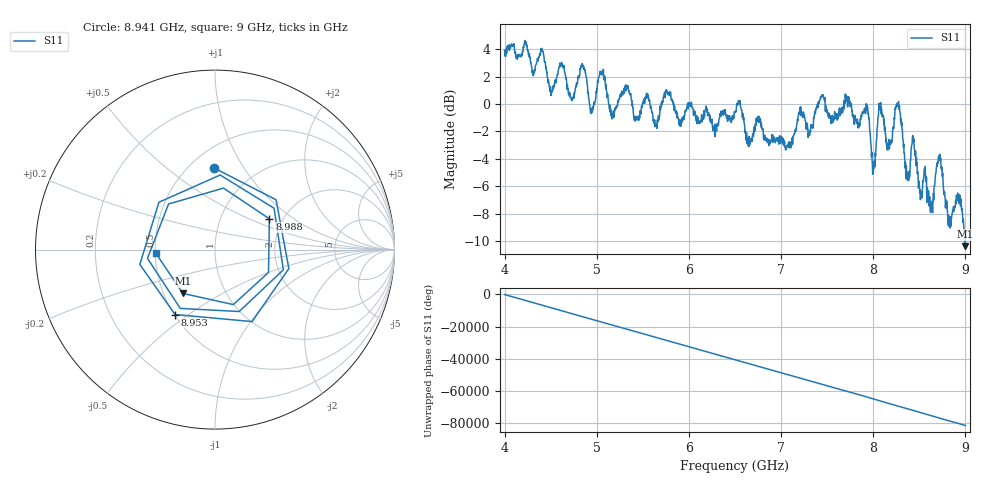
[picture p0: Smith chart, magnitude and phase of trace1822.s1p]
! Created with skrf 1.8.0 (http://scikit-rf.org).
# Hz S RI R 50.0
!freq ReS11 ImS11
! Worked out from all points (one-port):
!   1601 points, 4 GHz to 9 GHz, reference 50 ohm
!   lowest |S11| = -10.4 dB at 8.997 GHz (marker M1), VSWR 1.87, Z = 31.3 - j16.8 ohm
!   |S11| at or under -10 dB: 8.99497 GHz to 8.998438 GHz (3.468 MHz wide, 0.0385 % of centre)
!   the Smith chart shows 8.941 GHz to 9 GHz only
!   S11 on the Smith chart (normalised r, x): 8.941 GHz: 0.65, +0.75; 8.953 GHz: 0.50, -0.45; 8.988 GHz: 1.71, +0.67; 9 GHz: 0.50, -0.02
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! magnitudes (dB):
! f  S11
! 4 GHz  3.9
! 4.403 GHz  4.1
! 4.509 GHz  0.9
! 4.625 GHz  2.9
! 4.728 GHz  0.4
! 4.853 GHz  2.8
! 4.944 GHz  -0.3
! 5.047 GHz  2.3
! 5.25 GHz  0.6
! 5.875 GHz  -0.8
! 6.5 GHz  -0.6
! 7.125 GHz  -2.9
! 7.75 GHz  -0.2
! 7.931 GHz  -0.2
! 8.006 GHz  -4.2
! 8.072 GHz  0.0
! 8.169 GHz  -2.6
! 8.269 GHz  -0.1
! 8.375 GHz  -5.5
! 8.438 GHz  -2.8
! 8.622 GHz  -7.9
! 8.709 GHz  -3.8
! 8.825 GHz  -8.6
! 8.941 GHz  -6.9
! 8.953 GHz  -7.4
! 8.988 GHz  -9.2
! 8.997 GHz  -10.4
! 9 GHz  -9.6
